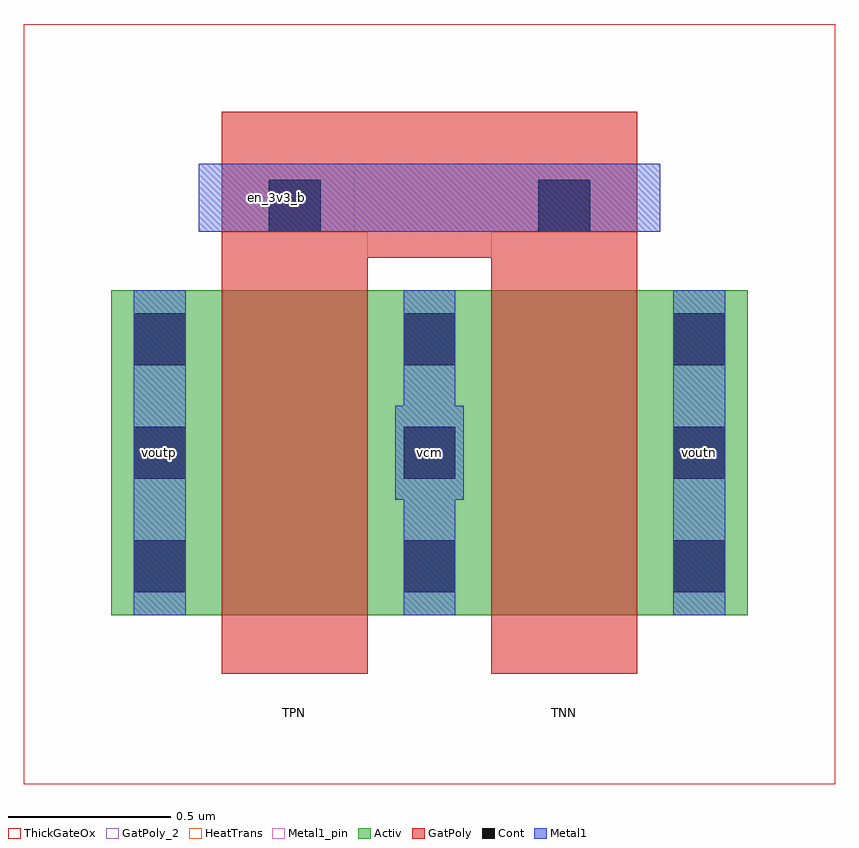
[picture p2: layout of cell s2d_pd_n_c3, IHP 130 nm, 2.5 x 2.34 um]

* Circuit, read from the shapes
.subckt s2d_pd_n_c3 en_3v3_b vcm voutn voutp
XM1 vcm en_3v3_b voutp VSUBS sg13_hv_nmos w=1u l=0.45u
XM2 voutn en_3v3_b vcm VSUBS sg13_hv_nmos w=1u l=0.45u
.ends

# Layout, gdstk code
import gdstk
lib = gdstk.Library(unit=1e-6, precision=1e-09)
def R(c, l, rs):  # rectangles x0, y0, x1, y1
    for r in rs: c.add(gdstk.rectangle(r[:2], r[2:], *l))
def A(c, l, x, y, w, h, nx, ny, dx, dy):  # array of equal rectangles
    R(c, l, [(x+i*dx, y+j*dy, x+i*dx+w, y+j*dy+h) for i in range(nx) for j in range(ny)])
Activ = (1, 0)
GatPoly = (5, 0)
GatPoly_2 = (5, 2)
Cont = (6, 0)
Metal1 = (8, 0)
Metal1_pin = (8, 2)
ThickGateOx = (44, 0)
HeatTrans = (51, 0)

nmoshv_5 = lib.new_cell('nmosHV$5')
R(nmoshv_5, Activ, [(0,0,0.3,0.3), (0,0,1.13,1), (0.83,0,1.13,0.3)])
R(nmoshv_5, GatPoly, [(0.34,-0.18,0.79,1.18)])
R(nmoshv_5, GatPoly_2, [(0.34,-0.18,0.79,1.18)])
A(nmoshv_5, Cont, 0.07, 0.07, 0.16, 0.16, 1, 3, 0, 0.35)
A(nmoshv_5, Cont, 0.9, 0.07, 0.16, 0.16, 1, 3, 0, 0.35)
R(nmoshv_5, Metal1, [(0.07,0,0.23,1), (0.9,0,1.06,1)])
R(nmoshv_5, Metal1_pin, [(0.07,0,0.23,1), (0.9,0,1.06,1)])
R(nmoshv_5, ThickGateOx, [(-0.27,-0.52,1.4,1.52)])
R(nmoshv_5, HeatTrans, [(0.34,-0.18,0.79,1.18)])
nmoshv_5.add(gdstk.Label('nmosHV', (0.565,0.5), layer=63, texttype=0))
nmoshv_5.add(gdstk.Label('nmosHV', (0.565,0.5), layer=51, texttype=0))

s2d_pd_n_c3 = lib.new_cell('s2d_pd_n_c3')
R(s2d_pd_n_c3, GatPoly, [(0.34,1.1,1.62,1.55)])
R(s2d_pd_n_c3, Cont, [(0.485,1.18,0.645,1.34), (1.315,1.18,1.475,1.34)])
R(s2d_pd_n_c3, Metal1, [(0.875,0.355,1.085,0.645), (0.27,1.18,1.69,1.39)])
R(s2d_pd_n_c3, Metal1_pin, [(0.07,0.25,0.23,0.75), (1.73,0.25,1.89,0.75), (0.875,0.355,1.085,0.645), (0.27,1.18,0.75,1.39)])
R(s2d_pd_n_c3, ThickGateOx, [(-0.27,-0.52,2.23,1.82)])
s2d_pd_n_c3.add(gdstk.Reference(nmoshv_5, (0,0)))
s2d_pd_n_c3.add(gdstk.Reference(nmoshv_5, (0.83,0)))
s2d_pd_n_c3.add(gdstk.Label('voutp', (0.15,0.5), layer=8, texttype=25))
s2d_pd_n_c3.add(gdstk.Label('voutn', (1.81,0.5), layer=8, texttype=25))
s2d_pd_n_c3.add(gdstk.Label('vcm', (0.98,0.5), layer=8, texttype=25))
s2d_pd_n_c3.add(gdstk.Label('en_3v3_b', (0.51,1.285), layer=8, texttype=25))
s2d_pd_n_c3.add(gdstk.Label('TPN', (0.565,-0.3), layer=63, texttype=0))
s2d_pd_n_c3.add(gdstk.Label('TNN', (1.395,-0.3), layer=63, texttype=0))

lib.write_gds('s2d_pd_n_c3.gds')
